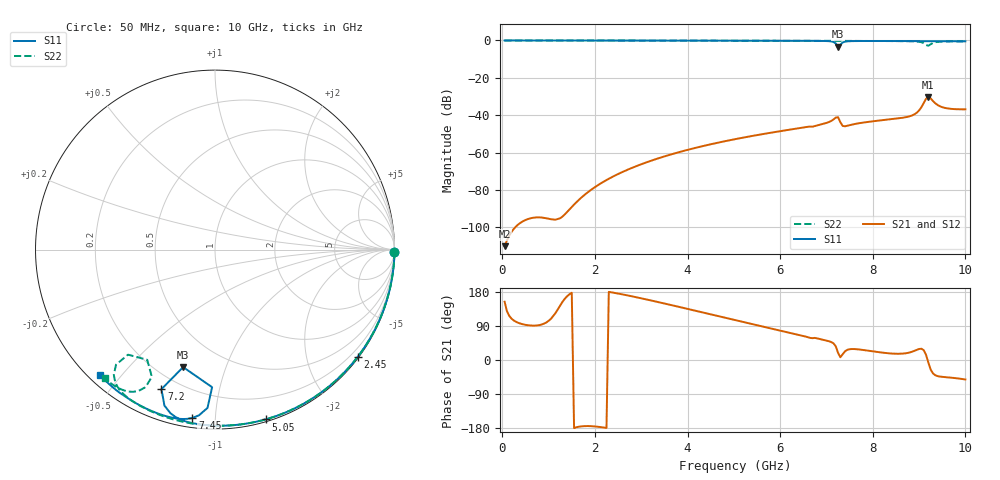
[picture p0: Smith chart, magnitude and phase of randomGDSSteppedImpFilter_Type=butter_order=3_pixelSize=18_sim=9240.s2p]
! freq	dB(S11)	phase(S11)	dB(S12)	phase(S12)
!  dB(S21)	phase(S21)	dB(S22)	phase(S22)
!S-par simulation data
#  GHz  S  DB  R 50
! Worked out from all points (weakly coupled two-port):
!   200 points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, 50 MHz to 10 GHz, reference 50 ohm
!   highest |S21| = -30.19 dB at 9.2 GHz (marker M1); lowest = -110.1 dB at 50 MHz (marker M2)
!   lowest |S11| = -3.4 dB at 7.25 GHz (marker M3), VSWR 5.22, Z = 14.9 - j36.1 ohm
!   |S11| at or under -10 dB: nowhere
!   |S22| runs from -2.8 to 0.0 dB; largest |S21 - S12| = 0
!   S11 on the Smith chart (normalised r, x): 50 MHz: open; 2.45 GHz: 0.03, -3.00; 5.05 GHz: 0.02, -1.34; 7.2 GHz: 0.13, -0.68; 7.45 GHz: 0.05, -0.87; 10 GHz: 0.03, -0.44
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0.05  -0.00 -0.8  -110.09 153.8  -110.09 153.8  -0.00 -0.8
1.75  -0.03 -26.6  -83.17 -174.6  -83.17 -174.6  -0.03 -26.4
1.9  -0.04 -28.8  -80.24 -174.5  -80.24 -174.5  -0.04 -28.7
2.45  -0.05 -36.9  -72.08 176.6  -72.08 176.6  -0.05 -36.7
3.4  -0.07 -50.6  -62.82 151.9  -62.82 151.9  -0.07 -50.4
5.05  -0.11 -73.4  -52.71 104.6  -52.71 104.6  -0.11 -72.9
6.7  -0.21 -96.0  -46.14 57.7  -46.14 57.7  -0.18 -94.1
7.05  -0.38 -103.4  -43.68 49.6  -43.68 49.6  -0.20 -98.5
7.2  -1.59 -111.0  -41.30 36.5  -41.30 36.5  -0.21 -100.3
7.25  -3.37 -105.2  -41.05 19.1  -41.05 19.1  -0.21 -101.0
7.3  -2.31 -91.2  -43.78 7.3  -43.78 7.3  -0.22 -101.6
7.35  -1.08 -92.7  -45.74 15.3  -45.74 15.3  -0.22 -102.2
7.45  -0.48 -97.6  -45.67 26.8  -45.67 26.8  -0.23 -103.4
8.35  -0.31 -112.8  -42.28 17.6  -42.28 17.6  -0.30 -114.9
8.9  -0.35 -119.5  -39.51 24.2  -39.51 24.2  -0.49 -124.1
9  -0.36 -120.7  -37.44 29.1  -37.44 29.1  -0.70 -127.1
9.1  -0.37 -121.9  -33.51 26.0  -33.51 26.0  -1.46 -130.7
9.15  -0.37 -122.4  -31.22 13.8  -31.22 13.8  -2.39 -129.6
9.2  -0.37 -123.0  -30.19 -6.9  -30.19 -6.9  -2.84 -121.6
9.35  -0.38 -124.9  -33.63 -40.2  -33.63 -40.2  -0.96 -118.4
9.6  -0.41 -127.8  -36.31 -45.6  -36.31 -45.6  -0.54 -124.5
10  -0.45 -132.5  -36.84 -51.4  -36.84 -51.4  -0.50 -130.6
